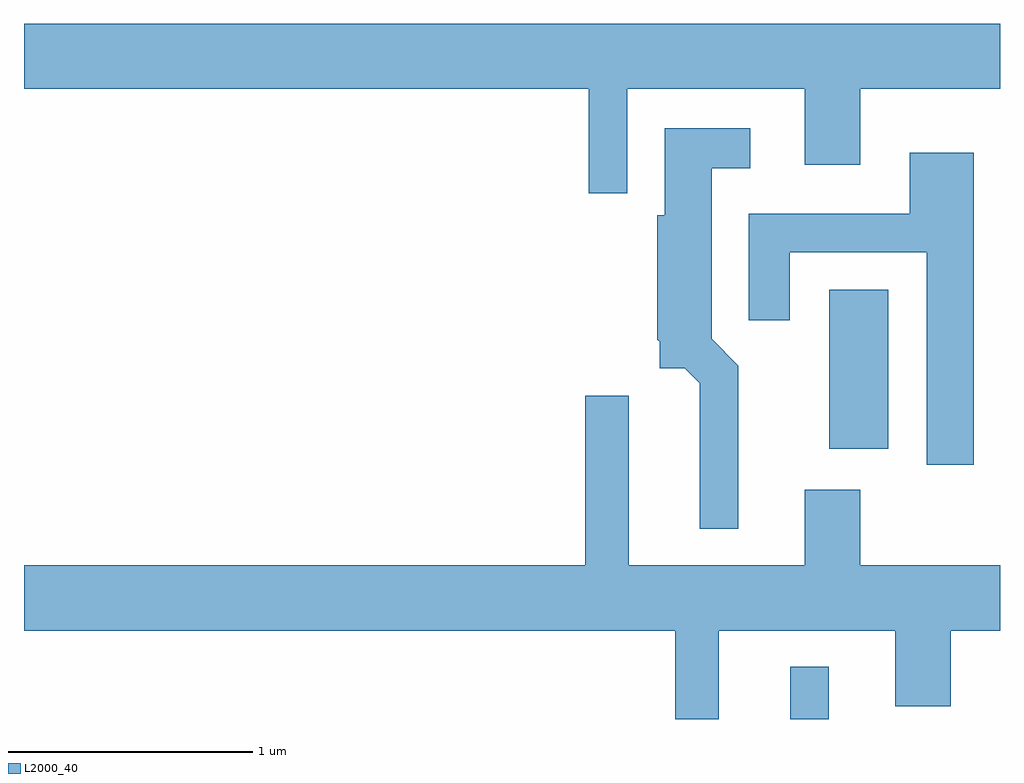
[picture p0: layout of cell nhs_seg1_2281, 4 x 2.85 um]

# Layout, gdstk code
import gdstk
lib = gdstk.Library(unit=1e-6, precision=1e-09)
def R(c, l, rs):  # rectangles x0, y0, x1, y1
    for r in rs: c.add(gdstk.rectangle(r[:2], r[2:], *l))
def P(c, l, *ps):  # polygons
    for p in ps: c.add(gdstk.Polygon(p, *l))
L2000_40 = (2000, 40)

nhs_seg1_2281 = lib.new_cell('nhs_seg1_2281')
R(nhs_seg1_2281, L2000_40, [(258.751,843.712,258.909,843.928), (258.911,844.821,259.154,845.474)])
P(nhs_seg1_2281, L2000_40, [(258.084,846.296),(258.811,846.296),(258.811,845.986),(259.039,845.986),(259.039,846.296),(259.611,846.296),(259.611,846.564),(255.611,846.564),(255.611,846.296),(257.926,846.296),(257.926,845.868),(258.084,845.868)],
  [(258.539,845.162),(258.429,845.272),(258.429,845.971),(258.587,845.971),(258.587,846.134),(258.236,846.134),(258.236,845.779),(258.206,845.779),(258.206,845.269),(258.216,845.259),(258.216,845.151),(258.319,845.151),(258.381,845.089),(258.381,844.493),(258.539,844.493)],
  [(259.504,846.034),(259.241,846.034),(259.241,845.784),(258.581,845.784),(258.581,845.348),(258.749,845.348),(258.749,845.626),(259.311,845.626),(259.311,844.756),(259.504,844.756)],
  [(258.459,844.076),(259.181,844.076),(259.181,843.766),(259.409,843.766),(259.409,844.076),(259.611,844.076),(259.611,844.344),(259.039,844.344),(259.039,844.654),(258.811,844.654),(258.811,844.344),(258.089,844.344),(258.089,845.039),(257.911,845.039),(257.911,844.344),(255.611,844.344),(255.611,844.076),(258.281,844.076),(258.281,843.712),(258.459,843.712)])

lib.write_gds('nhs_seg1_2281.gds')
